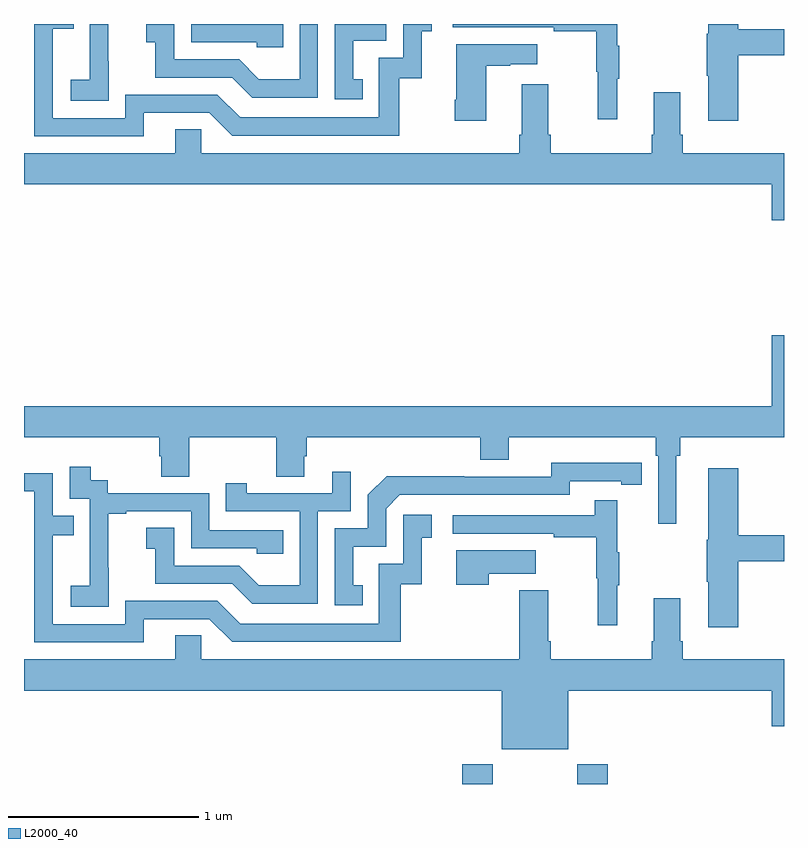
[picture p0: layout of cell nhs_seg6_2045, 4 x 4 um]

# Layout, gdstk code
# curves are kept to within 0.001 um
import gdstk
lib = gdstk.Library(unit=1e-6, precision=1e-09)
def R(c, l, rs):  # rectangles x0, y0, x1, y1
    for r in rs: c.add(gdstk.rectangle(r[:2], r[2:], *l))
def P(c, l, *ps):  # polygons
    for p in ps: c.add(gdstk.Polygon(p, *l))
L2000_40 = (2000, 40)

nhs_seg6_2045 = lib.new_cell('nhs_seg6_2045')
R(nhs_seg6_2045, L2000_40, [(235.307,957.5,235.467,957.604), (235.912,957.5,236.072,957.604)])
P(nhs_seg6_2045, L2000_40, [(236.759,961.336),(237,961.336),(237,961.472),(236.759,961.472),(236.759,961.5),(236.6,961.5),(236.6,961.449),(236.593,961.449),(236.593,961.228),(236.6,961.228),(236.6,960.99),(236.759,960.99)],
  [(233.629,961.032),(233.976,961.032),(234.096,960.912),(234.976,960.912),(234.976,961.215),(235.094,961.215),(235.094,961.461),(235.147,961.461),(235.147,961.5),(234.996,961.5),(234.996,961.323),(234.867,961.323),(234.867,961.008),(234.138,961.008),(234.018,961.128),(233.532,961.128),(233.532,961.005),(233.151,961.005),(233.151,961.474),(233.261,961.474),(233.261,961.5),(233.055,961.5),(233.055,960.909),(233.629,960.909)],
  [(234.782,961.209),(234.733,961.209),(234.733,961.413),(234.906,961.413),(234.906,961.5),(234.636,961.5),(234.636,961.104),(234.782,961.104)],
  [(236.123,961.211),(236.134,961.211),(236.134,961.385),(236.123,961.385),(236.123,961.5),(235.257,961.5),(235.257,961.482),(235.789,961.482),(235.789,961.462),(236.013,961.462),(236.013,961.248),(236.02,961.248),(236.02,960.999),(236.123,960.999)],
  [(233.445,961.303),(233.444,961.303),(233.444,961.5),(233.346,961.5),(233.346,961.436),(233.345,961.436),(233.345,961.207),(233.247,961.207),(233.247,961.097),(233.445,961.097)],
  [(234.365,961.5),(233.88,961.5),(233.88,961.404),(234.225,961.404),(234.225,961.377),(234.365,961.377)],
  [(234.546,961.5),(234.45,961.5),(234.45,961.21),(234.236,961.21),(234.132,961.314),(233.79,961.314),(233.79,961.5),(233.643,961.5),(233.643,961.403),(233.692,961.403),(233.692,961.218),(234.095,961.218),(234.2,961.113),(234.546,961.113)],
  [(235.432,961.279),(235.559,961.279),(235.559,961.289),(235.702,961.289),(235.702,961.393),(235.274,961.393),(235.274,961.102),(235.267,961.102),(235.267,960.99),(235.432,960.99)],
  [(237,960.82),(236.468,960.82),(236.468,960.916),(236.455,960.916),(236.455,961.141),(236.315,961.141),(236.315,960.916),(236.303,960.916),(236.303,960.82),(235.772,960.82),(235.772,960.916),(235.759,960.916),(235.759,961.183),(235.619,961.183),(235.619,960.916),(235.607,960.916),(235.607,960.82),(233.934,960.82),(233.934,960.947),(233.795,960.947),(233.795,960.82),(233,960.82),(233,960.656),(236.936,960.656),(236.936,960.468),(237,960.468)],
  [(233,959.324),(233.711,959.324),(233.711,959.226),(233.723,959.226),(233.723,959.116),(233.871,959.116),(233.871,959.324),(234.328,959.324),(234.328,959.116),(234.475,959.116),(234.475,959.226),(234.488,959.226),(234.488,959.324),(235.4,959.324),(235.4,959.207),(235.552,959.207),(235.552,959.324),(236.324,959.324),(236.324,959.228),(236.337,959.228),(236.337,958.869),(236.434,958.869),(236.434,959.228),(236.453,959.228),(236.453,959.324),(237,959.324),(237,959.863),(236.936,959.863),(236.936,959.488),(233,959.488)],
  [(234.782,958.545),(234.733,958.545),(234.733,958.749),(234.906,958.749),(234.906,958.95),(234.978,959.022),(235.872,959.022),(235.872,959.094),(236.144,959.094),(236.144,959.074),(236.252,959.074),(236.252,959.19),(235.776,959.191),(235.776,959.118),(235.316,959.118),(235.316,959.12),(234.908,959.12),(234.81,959.022),(234.81,958.845),(234.636,958.845),(234.636,958.44),(234.782,958.44)],
  [(233.445,958.639),(233.444,958.639),(233.444,958.923),(233.539,958.923),(233.539,958.935),(233.88,958.935),(233.88,958.74),(234.225,958.74),(234.225,958.713),(234.365,958.713),(234.365,958.836),(233.976,958.836),(233.976,959.031),(233.442,959.031),(233.442,959.1),(233.35,959.1),(233.35,959.17),(233.241,959.17),(233.241,959.001),(233.346,959.001),(233.346,958.772),(233.345,958.772),(233.345,958.543),(233.247,958.543),(233.247,958.433),(233.445,958.433)],
  [(236.759,958.672),(237,958.672),(237,958.808),(236.759,958.808),(236.759,959.161),(236.6,959.161),(236.6,958.785),(236.593,958.785),(236.593,958.564),(236.6,958.564),(236.6,958.326),(236.759,958.326)],
  [(234.546,958.935),(234.72,958.935),(234.72,959.143),(234.623,959.143),(234.623,959.031),(234.172,959.031),(234.172,959.083),(234.061,959.083),(234.061,958.935),(234.45,958.935),(234.45,958.546),(234.236,958.546),(234.132,958.65),(233.79,958.65),(233.79,958.849),(233.643,958.849),(233.643,958.739),(233.692,958.739),(233.692,958.554),(234.095,958.554),(234.2,958.449),(234.546,958.449)],
  [(233.629,958.368),(233.976,958.368),(234.096,958.248),(234.983,958.248),(234.983,958.551),(235.094,958.551),(235.094,958.797),(235.147,958.797),(235.147,958.918),(234.996,958.918),(234.996,958.659),(234.867,958.659),(234.867,958.344),(234.138,958.344),(234.018,958.464),(233.532,958.464),(233.532,958.341),(233.151,958.341),(233.151,958.81),(233.261,958.81),(233.261,958.911),(233.151,958.911),(233.151,959.136),(233,959.136),(233,959.04),(233.055,959.04),(233.055,958.245),(233.629,958.245)],
  [(236.123,958.547),(236.134,958.547),(236.134,958.721),(236.123,958.721),(236.123,958.993),(236.005,958.993),(236.005,958.914),(235.257,958.914),(235.257,958.818),(235.789,958.818),(235.789,958.798),(236.013,958.798),(236.013,958.584),(236.02,958.584),(236.02,958.335),(236.123,958.335)],
  [(235.445,958.607),(235.693,958.607),(235.693,958.729),(235.274,958.729),(235.274,958.548),(235.445,958.548)],
  [(235.864,957.992),(236.936,957.992),(236.936,957.804),(237,957.804),(237,958.156),(236.468,958.156),(236.468,958.252),(236.455,958.252),(236.455,958.477),(236.315,958.477),(236.315,958.252),(236.303,958.252),(236.303,958.156),(235.772,958.156),(235.772,958.252),(235.759,958.252),(235.759,958.519),(235.607,958.519),(235.607,958.156),(233.934,958.156),(233.934,958.283),(233.795,958.283),(233.795,958.156),(233,958.156),(233,957.992),(235.514,957.992),(235.514,957.683),(235.864,957.683)])

lib.write_gds('nhs_seg6_2045.gds')
